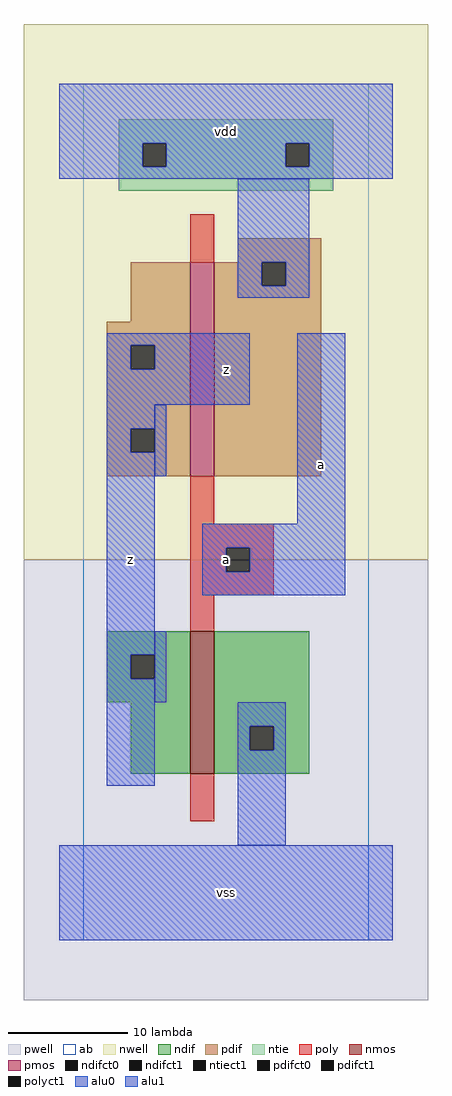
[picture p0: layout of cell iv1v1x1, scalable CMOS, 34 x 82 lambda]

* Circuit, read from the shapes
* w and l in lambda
.subckt iv1v1x1 a vdd vss z
M1 vss a z VSUBS nfet w=12 l=2
M2 vdd a z vdd pfet w=18 l=2
.ends

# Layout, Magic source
magic
tech scmos
<< ab >>
rect 0 0 24 72
<< nwell >>
rect -5 32 29 77
<< pwell >>
rect -5 -5 29 32
<< poly >>
rect 9 57 11 61
rect 9 35 11 39
rect 9 33 16 35
rect 9 31 12 33
rect 14 31 16 33
rect 9 29 16 31
rect 9 26 11 29
rect 9 10 11 14
<< ndif >>
rect 2 24 9 26
rect 2 22 4 24
rect 6 22 9 24
rect 2 20 9 22
rect 4 14 9 20
rect 11 18 19 26
rect 11 16 14 18
rect 16 16 19 18
rect 11 14 19 16
<< pdif >>
rect 13 57 20 59
rect 4 52 9 57
rect 2 50 9 52
rect 2 48 4 50
rect 6 48 9 50
rect 2 43 9 48
rect 2 41 4 43
rect 6 41 9 43
rect 2 39 9 41
rect 11 55 15 57
rect 17 55 20 57
rect 11 39 20 55
<< alu1 >>
rect -2 67 26 72
rect -2 65 5 67
rect 7 65 17 67
rect 19 65 26 67
rect -2 64 26 65
rect 2 50 14 51
rect 2 48 4 50
rect 6 48 14 50
rect 2 45 14 48
rect 2 43 6 45
rect 2 41 4 43
rect 2 24 6 41
rect 18 35 22 51
rect 10 33 22 35
rect 10 31 12 33
rect 14 31 22 33
rect 10 29 22 31
rect 2 22 4 24
rect 2 13 6 22
rect -2 0 26 8
<< ntie >>
rect 3 67 21 69
rect 3 65 5 67
rect 7 65 17 67
rect 19 65 21 67
rect 3 63 21 65
<< nmos >>
rect 9 14 11 26
<< pmos >>
rect 9 39 11 57
<< polyct1 >>
rect 12 31 14 33
<< ndifct0 >>
rect 14 16 16 18
<< ndifct1 >>
rect 4 22 6 24
<< ntiect1 >>
rect 5 65 7 67
rect 17 65 19 67
<< pdifct0 >>
rect 15 55 17 57
<< pdifct1 >>
rect 4 48 6 50
rect 4 41 6 43
<< alu0 >>
rect 13 57 19 64
rect 13 55 15 57
rect 17 55 19 57
rect 13 54 19 55
rect 6 39 7 45
rect 6 20 7 26
rect 13 18 17 20
rect 13 16 14 18
rect 16 16 17 18
rect 13 8 17 16
<< labels >>
rlabel alu1 4 32 4 32 6 z
rlabel alu1 12 4 12 4 6 vss
rlabel alu1 12 32 12 32 6 a
rlabel alu1 12 48 12 48 6 z
rlabel alu1 12 68 12 68 6 vdd
rlabel alu1 20 40 20 40 6 a
<< end >>
